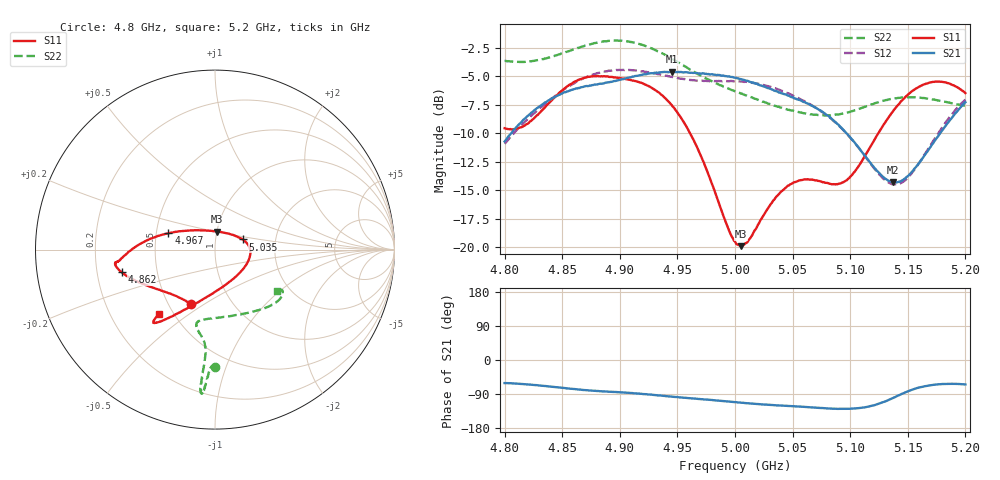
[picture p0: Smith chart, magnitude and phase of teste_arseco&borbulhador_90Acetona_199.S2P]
! Network Analyzer HP8722D
! Hewlett-Packard
! Data name: Linha & Wilkinson
! Saver's name: Rodrigo Anjos
! Comments: Teste da utilização de aquisição
! continua pelo VNA HP8722D
! Time and date: 17/4/2025 12:42
!  Frequency  S11  S21  S12  S22
# HZ  S  MA R 50
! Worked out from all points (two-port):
!   401 points, 4.8 GHz to 5.2 GHz, reference 50 ohm
!   highest |S21| = -4.62 dB at 4.945 GHz (marker M1); lowest = -14.3 dB at 5.137 GHz (marker M2)
!   |S21| within 3 dB of the highest: 4.831 GHz to 5.067 GHz (236.6 MHz wide, 4.78 % of centre); 5.196823 GHz to end of sweep
!   lowest |S11| = -19.9 dB at 5.005 GHz (marker M3), VSWR 1.22, Z = 50.2 + j10.2 ohm
!   |S11| at or under -10 dB: 4.961 GHz to 5.124 GHz (163.4 MHz wide, 3.24 % of centre)
!   |S22| runs from -8.4 to -1.9 dB; largest |S21 - S12| = 0.88
!   S11 on the Smith chart (normalised r, x): 4.8 GHz: 0.65, -0.44; 4.862 GHz: 0.31, -0.11; 4.967 GHz: 0.58, +0.12; 5.035 GHz: 1.35, +0.16; 5.2 GHz: 0.42, -0.39
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4.8e9  0.3324 -113.8  0.2905 -60.9  0.2841 -175.2  0.6557 -89.8
4.819e9  0.3462 -133.8  0.3721 -64.2  0.36 -173.6  0.6518 -91.4
4.862e9  0.5348 -166.4  0.4973 -77.0  0.53 -176.8  0.7424 -93.8
4.867e9  0.5477 -168.2  0.503 -78.8  0.5455 -177.9  0.7573 -94.0
4.9e9  0.5517 -172.8  0.5417 -85.3  0.599 175.6  0.8036 -95.4
4.934e9  0.4765 -179.0  0.5831 -93.7  0.5737 171.8  0.718 -95.9
4.945e9  0.4202 175.9  0.5874 -96.7  0.5581 171.9  0.6705 -95.6
4.967e9  0.2749 160.5  0.5801 -102.3  0.5373 173.8  0.5774 -95.1
5e9  0.1059 99.9  0.5535 -111.2  0.5347 176.0  0.4823 -99.5
5.005e9  0.1011 82.8  0.5458 -112.6  0.5323 176.1  0.4715 -100.6
5.012e9  0.1079 60.8  0.533 -114.4  0.5283 175.8  0.458 -102.1
5.035e9  0.1645 20.2  0.4838 -119.4  0.4972 174.6  0.4162 -103.7
5.05e9  0.1908 5.0  0.4549 -121.9  0.4628 174.0  0.3976 -99.9
5.067e9  0.1979 -13.2  0.417 -125.0  0.4184 173.6  0.3821 -91.1
5.087e9  0.1885 -45.3  0.3541 -128.6  0.353 173.6  0.3812 -75.9
5.098e9  0.1992 -68.2  0.3115 -128.8  0.3106 174.6  0.39 -66.6
5.134e9  0.3749 -116.9  0.1949 -104.5  0.1913 -157.5  0.4452 -43.1
5.137e9  0.3934 -118.7  0.1922 -100.4  0.1892 -152.7  0.448 -41.7
5.15e9  0.4652 -124.6  0.205 -82.9  0.202 -132.4  0.4543 -36.8
5.17e9  0.5282 -129.3  0.2764 -66.4  0.2819 -112.4  0.4458 -32.1
5.184e9  0.525 -130.6  0.3473 -63.1  0.3589 -107.3  0.4325 -31.1
5.2e9  0.4737 -131.1  0.4321 -64.4  0.444 -106.4  0.4162 -33.5
